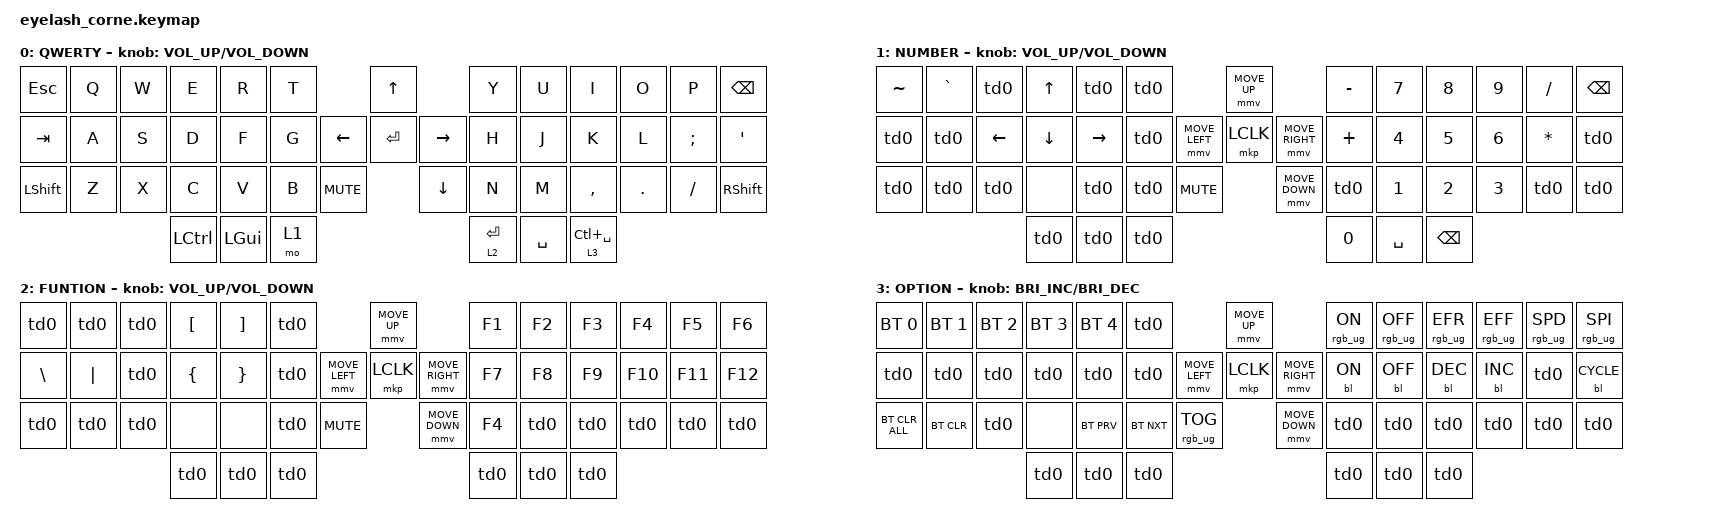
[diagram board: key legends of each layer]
#define ZMK_POINTING_DEFAULT_MOVE_VAL 1200  // 600
#define ZMK_POINTING_DEFAULT_SCRL_VAL 25   // 10

#include <input/processors.dtsi>
#include <zephyr/dt-bindings/input/input-event-codes.h>
#include <behaviors.dtsi>
#include <dt-bindings/zmk/backlight.h>
#include <dt-bindings/zmk/bt.h>
#include <dt-bindings/zmk/keys.h>
#include <dt-bindings/zmk/pointing.h>
#include <dt-bindings/zmk/rgb.h>

&mmv_input_listener { input-processors = <&zip_xy_scaler 2 1>; };

&msc_input_listener { input-processors = <&zip_scroll_scaler 2 1>; };

&msc {
    acceleration-exponent = <1>;      // 0
    time-to-max-speed-ms = <100>;       // 300
    delay-ms = <0>;                   // 0
};

&mmv {
    time-to-max-speed-ms = <500>;
    acceleration-exponent = <1>;
    trigger-period-ms = <16>;
};

/ {
    behaviors {
        td0: td0 {
            compatible = "zmk,behavior-tap-dance";
            display-name = "Shift/Caps Lock Tap Dance";
            #binding-cells = <0>;
            bindings = <&kp LEFT_SHIFT>, <&kp CAPS>;
        };
    };

    rgb_encoder: rgb_encoder {
        compatible = "zmk,behavior-sensor-rotate";
        #sensor-binding-cells = <0>;
        bindings = <&rgb_ug RGB_BRI>, <&rgb_ug RGB_BRD>;
    };

    scroll_encoder: scroll_encoder {
        compatible = "zmk,behavior-sensor-rotate";
        #sensor-binding-cells = <0>;
        bindings = <&msc SCRL_DOWN>, <&msc SCRL_UP>;

        tap-ms = <100>;
    };

    keymap {
        compatible = "zmk,keymap";

        default_layer {
            display-name = "QWERTY";
            bindings = <
&kp ESC         &kp Q  &kp W  &kp E             &kp R         &kp T                          &kp UP                &kp Y        &kp U      &kp I            &kp O    &kp P     &kp BSPC
&kp TAB         &kp A  &kp S  &kp D             &kp F         &kp G                &kp LEFT  &kp ENTER  &kp RIGHT  &kp H        &kp J      &kp K            &kp L    &kp SEMI  &kp SQT
&kp LEFT_SHIFT  &kp Z  &kp X  &kp C             &kp V         &kp B  &kp C_MUTE              &kp DOWN              &kp N        &kp M      &kp COMMA        &kp DOT  &kp FSLH  &kp RIGHT_SHIFT
                              &kp LEFT_CONTROL  &kp LEFT_GUI  &mo 1                                                &lt 2 ENTER  &kp SPACE  &lt 3 LC(SPACE)
            >;

            sensor-bindings = <&inc_dec_kp C_VOLUME_UP C_VOLUME_DOWN>;
        };

        layer_1 {
            display-name = "NUMBER";
            bindings = <
&kp TILDE  &kp GRAVE  &td0      &kp UP    &td0       &td0                                &mmv MOVE_UP                     &kp MINUS  &kp N7     &kp N8         &kp N9  &kp SLASH  &kp BACKSPACE
&td0       &td0       &kp LEFT  &kp DOWN  &kp RIGHT  &td0                &mmv MOVE_LEFT  &mkp LCLK       &mmv MOVE_RIGHT  &kp PLUS   &kp N4     &kp N5         &kp N6  &kp ASTRK  &td0
&td0       &td0       &td0      &none     &td0       &td0  &kp C_MUTE                    &mmv MOVE_DOWN                   &td0       &kp N1     &kp N2         &kp N3  &td0       &td0
                                &td0      &td0       &td0                                                                 &kp N0     &kp SPACE  &kp BACKSPACE
            >;

            sensor-bindings = <&inc_dec_kp C_VOLUME_UP C_VOLUME_DOWN>;
        };

        layer_2 {
            display-name = "FUNTION";
            bindings = <
&td0           &td0      &td0  &kp LEFT_BRACKET  &kp RIGHT_BRACKET  &td0                                &mmv MOVE_UP                     &kp F1  &kp F2  &kp F3  &kp F4   &kp F5   &kp F6
&kp BACKSLASH  &kp PIPE  &td0  &kp LEFT_BRACE    &kp RIGHT_BRACE    &td0                &mmv MOVE_LEFT  &mkp LCLK       &mmv MOVE_RIGHT  &kp F7  &kp F8  &kp F9  &kp F10  &kp F11  &kp F12
&td0           &td0      &td0  &none             &none              &td0  &kp C_MUTE                    &mmv MOVE_DOWN                   &kp F4  &td0    &td0    &td0     &td0     &td0
                               &td0              &td0               &td0                                                                 &td0    &td0    &td0
            >;

            sensor-bindings = <&inc_dec_kp C_VOLUME_UP C_VOLUME_DOWN>;
        };

        layer_3 {
            display-name = "OPTION";
            bindings = <
&bt BT_SEL 0    &bt BT_SEL 1  &bt BT_SEL 2  &bt BT_SEL 3  &bt BT_SEL 4  &td0                                           &mmv MOVE_UP                     &rgb_ug RGB_ON  &rgb_ug RGB_OFF  &rgb_ug RGB_EFR  &rgb_ug RGB_EFF  &rgb_ug RGB_SPD  &rgb_ug RGB_SPI
&td0            &td0          &td0          &td0          &td0          &td0                           &mmv MOVE_LEFT  &mkp LCLK       &mmv MOVE_RIGHT  &bl BL_ON       &bl BL_OFF       &bl BL_DEC       &bl BL_INC       &td0             &bl BL_CYCLE
&bt BT_CLR_ALL  &bt BT_CLR    &td0          &none         &bt BT_PRV    &bt BT_NXT  &rgb_ug RGB_TOG                    &mmv MOVE_DOWN                   &td0            &td0             &td0             &td0             &td0             &td0
                                            &td0          &td0          &td0                                                                            &td0            &td0             &td0
            >;

            sensor-bindings = <&inc_dec_kp C_BRIGHTNESS_INC C_BRIGHTNESS_DEC>;
        };
    };
};
